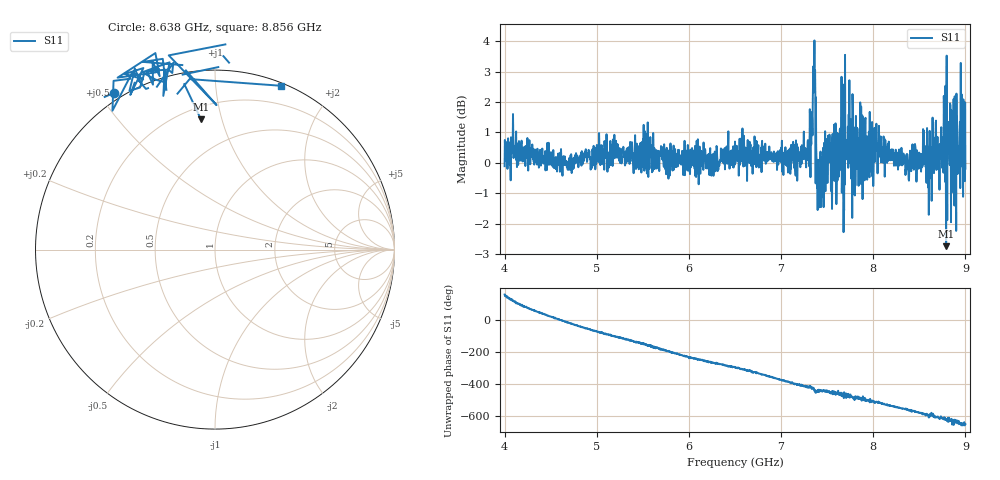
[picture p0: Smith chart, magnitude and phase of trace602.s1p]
! Created with skrf 1.8.0 (http://scikit-rf.org).
# Hz S RI R 50.0
!freq ReS11 ImS11
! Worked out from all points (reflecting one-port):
!   1601 points, 4 GHz to 9 GHz, reference 50 ohm
!   lowest |S11| = -2.7 dB at 8.791 GHz (marker M1), VSWR 6.40, Z = 13.8 + j43 ohm
!   phase of S11 starts at 158 deg and turns -808 deg over the sweep
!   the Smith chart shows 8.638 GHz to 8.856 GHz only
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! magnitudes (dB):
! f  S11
! 4 GHz  -0.1
! 4.1 GHz  0.4
! 4.625 GHz  -0.3
! 5.25 GHz  0.2
! 5.875 GHz  0.0
! 6.5 GHz  0.7
! 7.125 GHz  0.2
! 7.294 GHz  0.3
! 7.319 GHz  -0.5
! 7.347 GHz  2.6
! 7.369 GHz  3.0
! 7.397 GHz  -1.5
! 7.412 GHz  -1.1
! 7.509 GHz  0.9
! 7.609 GHz  0.8
! 7.65 GHz  0.9
! 7.75 GHz  0.2
! 7.784 GHz  -0.9
! 7.834 GHz  0.7
! 7.944 GHz  0.9
! 8.038 GHz  0.6
! 8.375 GHz  0.1
! 8.566 GHz  0.5
! 8.616 GHz  0.6
! 8.791 GHz  -2.7
! 8.875 GHz  0.3
! 8.956 GHz  0.1
! 9 GHz  -0.2
